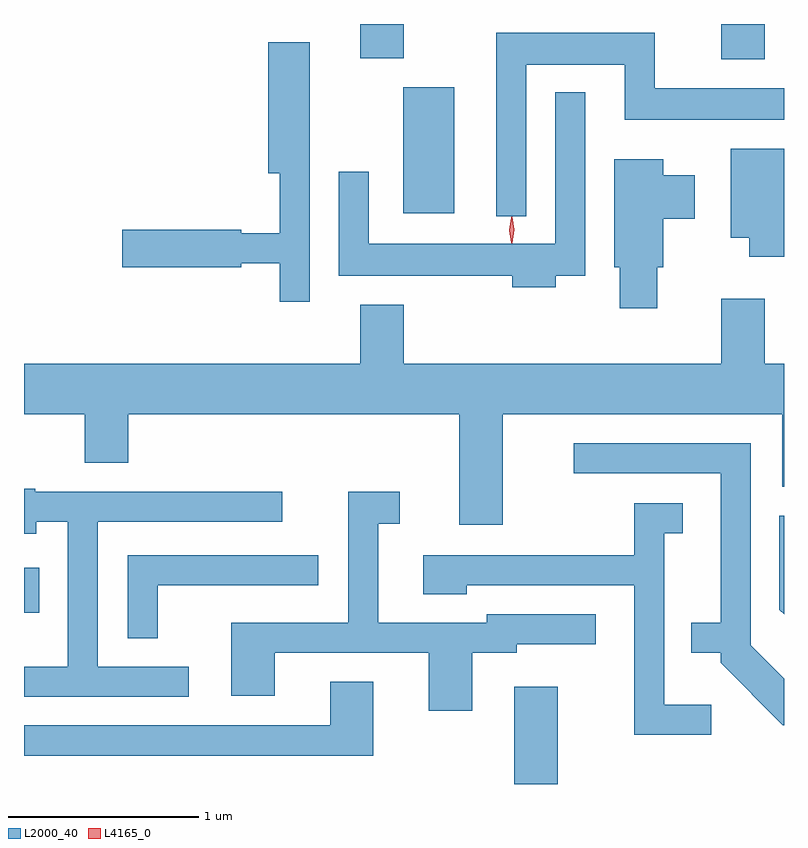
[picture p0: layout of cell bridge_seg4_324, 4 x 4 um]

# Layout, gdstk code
import gdstk
lib = gdstk.Library(unit=1e-6, precision=1e-09)
def R(c, l, rs):  # rectangles x0, y0, x1, y1
    for r in rs: c.add(gdstk.rectangle(r[:2], r[2:], *l))
def P(c, l, *ps):  # polygons
    for p in ps: c.add(gdstk.Polygon(p, *l))
L2000_40 = (2000, 40)
L4165_0 = (4165, 0)

bridge_seg4_324 = lib.new_cell('bridge_seg4_324')
R(bridge_seg4_324, L2000_40, [(724.231,1270.591,724.459,1271.104), (721.65,1271.493,721.729,1271.729), (723.646,1273.596,723.914,1274.259), (725.321,1274.406,725.549,1274.591), (723.421,1274.411,723.649,1274.591)])
P(bridge_seg4_324, L2000_40, [(724.294,1274.376),(724.811,1274.376),(724.811,1274.086),(725.65,1274.086),(725.65,1274.254),(724.969,1274.254),(724.969,1274.544),(724.136,1274.544),(724.136,1273.578),(724.294,1273.578)],
  [(723.154,1274.494),(722.936,1274.494),(722.936,1273.806),(722.996,1273.806),(722.996,1273.489),(722.794,1273.489),(722.794,1273.509),(722.166,1273.509),(722.166,1273.311),(722.794,1273.311),(722.794,1273.331),(722.996,1273.331),(722.996,1273.128),(723.154,1273.128)],
  [(724.449,1273.266),(724.604,1273.266),(724.604,1274.233),(724.446,1274.233),(724.446,1273.434),(723.464,1273.434),(723.464,1273.813),(723.306,1273.813),(723.306,1273.266),(724.221,1273.266),(724.221,1273.206),(724.449,1273.206)],
  [(725.65,1273.934),(725.371,1273.934),(725.371,1273.466),(725.466,1273.466),(725.466,1273.366),(725.65,1273.366)],
  [(724.984,1273.311),(725.014,1273.311),(725.014,1273.566),(725.179,1273.566),(725.179,1273.794),(725.014,1273.794),(725.014,1273.879),(724.756,1273.879),(724.756,1273.311),(724.786,1273.311),(724.786,1273.096),(724.984,1273.096)],
  [(724.169,1272.536),(725.641,1272.536),(725.641,1272.156),(725.65,1272.156),(725.65,1272.804),(725.549,1272.804),(725.549,1273.144),(725.321,1273.144),(725.321,1272.804),(723.649,1272.804),(723.649,1273.114),(723.421,1273.114),(723.421,1272.804),(721.65,1272.804),(721.65,1272.536),(721.971,1272.536),(721.971,1272.281),(722.199,1272.281),(722.199,1272.536),(723.941,1272.536),(723.941,1271.956),(724.169,1271.956)],
  [(725.65,1271.146),(725.474,1271.322),(725.474,1272.384),(724.543,1272.384),(724.543,1272.226),(725.316,1272.226),(725.316,1271.439),(725.163,1271.439),(725.163,1271.281),(725.316,1271.281),(725.316,1271.229),(725.644,1270.901),(725.65,1270.901)],
  [(722.518,1271.209),(722.039,1271.209),(722.039,1271.971),(723.008,1271.971),(723.008,1272.129),(721.71,1272.129),(721.71,1272.144),(721.65,1272.144),(721.65,1271.908),(721.714,1271.908),(721.714,1271.971),(721.881,1271.971),(721.881,1271.209),(721.65,1271.209),(721.65,1271.051),(722.518,1271.051)],
  [(724.009,1271.281),(724.244,1271.281),(724.244,1271.326),(724.658,1271.326),(724.658,1271.484),(724.086,1271.484),(724.086,1271.439),(723.514,1271.439),(723.514,1271.961),(723.628,1271.961),(723.628,1272.129),(723.356,1272.129),(723.356,1271.439),(722.741,1271.439),(722.741,1271.056),(722.969,1271.056),(722.969,1271.281),(723.781,1271.281),(723.781,1270.976),(724.009,1270.976)],
  [(725.268,1271.009),(725.019,1271.009),(725.019,1271.911),(725.118,1271.911),(725.118,1272.069),(724.861,1272.069),(724.861,1271.794),(723.751,1271.794),(723.751,1271.591),(723.979,1271.591),(723.979,1271.636),(724.861,1271.636),(724.861,1270.851),(725.268,1270.851)],
  [(725.65,1272.004),(725.626,1272.004),(725.626,1271.509),(725.65,1271.485)],
  [(722.354,1271.636),(723.198,1271.636),(723.198,1271.794),(722.196,1271.794),(722.196,1271.358),(722.354,1271.358)],
  [(723.489,1271.129),(723.261,1271.129),(723.261,1270.899),(721.65,1270.899),(721.65,1270.741),(723.489,1270.741)])
P(bridge_seg4_324, L4165_0, [(724.215,1273.439),(724.214,1273.44),(724.205,1273.506),(724.214,1273.572),(724.215,1273.573),(724.215,1273.572),(724.225,1273.506),(724.215,1273.44)],
  [(724.219,1273.437),(724.218,1273.438),(724.209,1273.507),(724.218,1273.576),(724.218,1273.576),(724.219,1273.576),(724.229,1273.507),(724.22,1273.438)])

lib.write_gds('bridge_seg4_324.gds')
